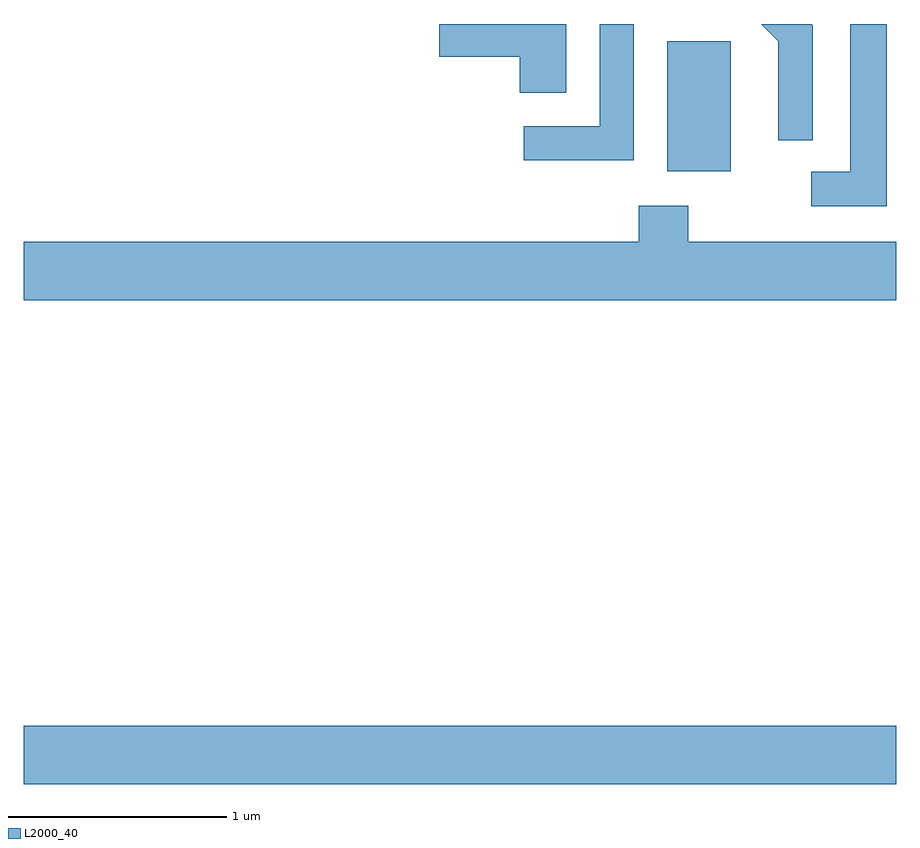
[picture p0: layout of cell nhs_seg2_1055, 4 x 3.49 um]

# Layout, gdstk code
import gdstk
lib = gdstk.Library(unit=1e-6, precision=1e-09)
def R(c, l, rs):  # rectangles x0, y0, x1, y1
    for r in rs: c.add(gdstk.rectangle(r[:2], r[2:], *l))
def P(c, l, *ps):  # polygons
    for p in ps: c.add(gdstk.Polygon(p, *l))
L2000_40 = (2000, 40)

nhs_seg2_1055 = lib.new_cell('nhs_seg2_1055')
R(nhs_seg2_1055, L2000_40, [(215.611,1048.316,219.611,1048.584), (218.561,1051.126,218.854,1051.724)])
P(nhs_seg2_1055, L2000_40, [(218.409,1051.802),(218.251,1051.802),(218.251,1051.334),(217.903,1051.334),(217.903,1051.176),(218.409,1051.176)],
  [(219.229,1051.797),(219.224,1051.802),(218.993,1051.802),(219.071,1051.724),(219.071,1051.268),(219.229,1051.268)],
  [(218.099,1051.802),(217.516,1051.802),(217.516,1051.651),(217.886,1051.651),(217.886,1051.486),(218.099,1051.486)],
  [(219.569,1051.802),(219.401,1051.802),(219.401,1051.124),(219.223,1051.124),(219.223,1050.966),(219.569,1050.966)],
  [(219.611,1050.804),(218.659,1050.804),(218.659,1050.969),(218.431,1050.969),(218.431,1050.804),(215.611,1050.804),(215.611,1050.536),(219.611,1050.536)])

lib.write_gds('nhs_seg2_1055.gds')
